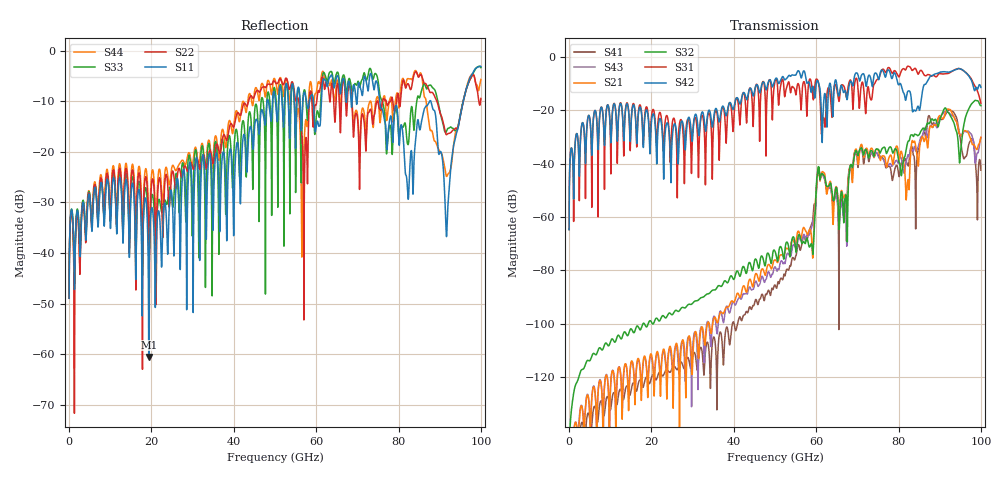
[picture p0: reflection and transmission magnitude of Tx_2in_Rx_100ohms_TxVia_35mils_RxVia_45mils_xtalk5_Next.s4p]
! Info: Touchstone file created by Circ.  Input file=Tx_2in_Rx_100ohms_TxVia_35mils_RxVia_45mils.circ
# Hz S RI R 50
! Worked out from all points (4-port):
!   10000 points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, 10 MHz to 100 GHz, reference 50 ohm
!   strongest paths, dB at 10 MHz, 25.01 GHz, 50.01 GHz, 75.01 GHz, 100 GHz:
!     S42: -64.7, -31.5, -8.6, -7.9, -11.5
!     S31: -64.7, -25.5, -9.2, -8.4, -17.4
!     S32: -162.0, -96.6, -72.9, -34.6, -18.3
!     S21: -175.3, -114.1, -76.0, -34.9, -30.1
!     S43: -175.2, -115.9, -78.6, -37.0, -30.3
!     S41: -180.4, -116.8, -85.5, -36.7, -42.4
!   lowest |S11| = -60.6 dB at 19.34 GHz (marker M1), VSWR 1.00, Z = 49.9 - j0.0219 ohm
!   |S11| at or under -10 dB: start of sweep to 48.08 GHz; 75.44 GHz to 87.58 GHz (12.14 GHz wide, 14.9 % of centre); 87.84 GHz to 95.74 GHz (7.901 GHz wide, 8.61 % of centre)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
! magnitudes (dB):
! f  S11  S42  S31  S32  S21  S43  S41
! 10 MHz  -49.0  -64.7  -64.7  -162.0  -175.3  -175.2  -180.4
! 4.75 GHz  -28.5  -21.9  -22.0  -113.8  -128.2  -128.0  -133.6
! 19.34 GHz  -60.6  -25.3  -24.3  -99.4  -117.5  -117.0  -121.9
! 52.94 GHz  -7.0  -7.9  -11.0  -69.4  -71.7  -73.8  -79.5
! 63.53 GHz  -5.0  -10.8  -16.1  -47.3  -47.0  -49.1  -48.3
! 91.73 GHz  -36.0  -5.7  -6.3  -20.1  -19.8  -20.7  -20.6
! 100 GHz  -3.2  -11.5  -17.4  -18.3  -30.1  -30.3  -42.4
